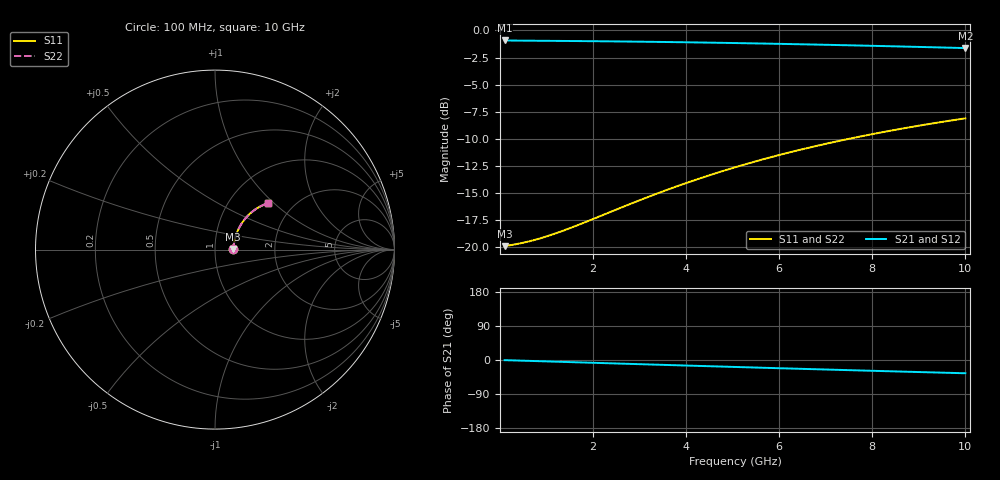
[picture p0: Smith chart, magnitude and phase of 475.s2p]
# Hz S RI R 50.00
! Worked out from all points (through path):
!   100 points, 100 MHz to 10 GHz, reference 50 ohm
!   highest |S21| = -0.93 dB at 100 MHz (marker M1); lowest = -1.6 dB at 10 GHz (marker M2)
!   group delay of S21, straight-line fit = 9.75 ps
!   lowest |S11| = -19.9 dB at 100 MHz (marker M3), VSWR 1.22, Z = 61.2 + j0.453 ohm
!   |S11| at or under -10 dB: start of sweep to 7.498 GHz
!   |S22| runs from -19.9 to -8.1 dB; largest |S21 - S12| = 0
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1e8  0.1011 0.00366  0.8989 -0.00581  0.8989 -0.00581  0.1011 0.00366
5e8  0.1033 0.0182  0.8966 -0.0289  0.8966 -0.0289  0.1033 0.0182
7e8  0.1044 0.0254  0.8955 -0.0405  0.8955 -0.0405  0.1044 0.0254
9e8  0.1055 0.0326  0.8943 -0.0519  0.8943 -0.0519  0.1055 0.0326
1.1e9  0.1068 0.0398  0.8929 -0.0634  0.8929 -0.0634  0.1068 0.0398
1.3e9  0.1082 0.0469  0.8913 -0.0748  0.8913 -0.0748  0.1082 0.0469
1.8e9  0.1125 0.0645  0.8867 -0.1031  0.8867 -0.1031  0.1125 0.0645
2.6e9  0.1214 0.0918  0.8769 -0.1477  0.8769 -0.1477  0.1214 0.0918
3e9  0.1268 0.105  0.871 -0.1695  0.871 -0.1695  0.1268 0.105
3.4e9  0.1328 0.1179  0.8644 -0.191  0.8644 -0.191  0.1328 0.1179
3.8e9  0.1394 0.1304  0.857 -0.2121  0.857 -0.2121  0.1394 0.1304
4.2e9  0.1466 0.1425  0.849 -0.2328  0.849 -0.2328  0.1466 0.1425
4.6e9  0.1544 0.1542  0.8404 -0.2531  0.8404 -0.2531  0.1544 0.1542
5.1e9  0.1648 0.1681  0.8288 -0.2778  0.8288 -0.2778  0.1648 0.1681
5.5e9  0.1737 0.1786  0.8189 -0.297  0.8189 -0.297  0.1737 0.1786
5.9e9  0.183 0.1887  0.8085 -0.3157  0.8085 -0.3157  0.183 0.1887
6.3e9  0.1927 0.1982  0.7975 -0.3339  0.7975 -0.3339  0.1927 0.1982
6.7e9  0.2028 0.2071  0.7861 -0.3515  0.7861 -0.3515  0.2028 0.2071
7.5e9  0.224 0.2233  0.7621 -0.3851  0.7621 -0.3851  0.224 0.2233
8.4e9  0.2491 0.2387  0.7334 -0.4202  0.7334 -0.4202  0.2491 0.2387
9.2e9  0.2722 0.2499  0.7067 -0.449  0.7067 -0.449  0.2722 0.2499
1e10  0.2959 0.2588  0.6792 -0.4754  0.6792 -0.4754  0.2959 0.2588
